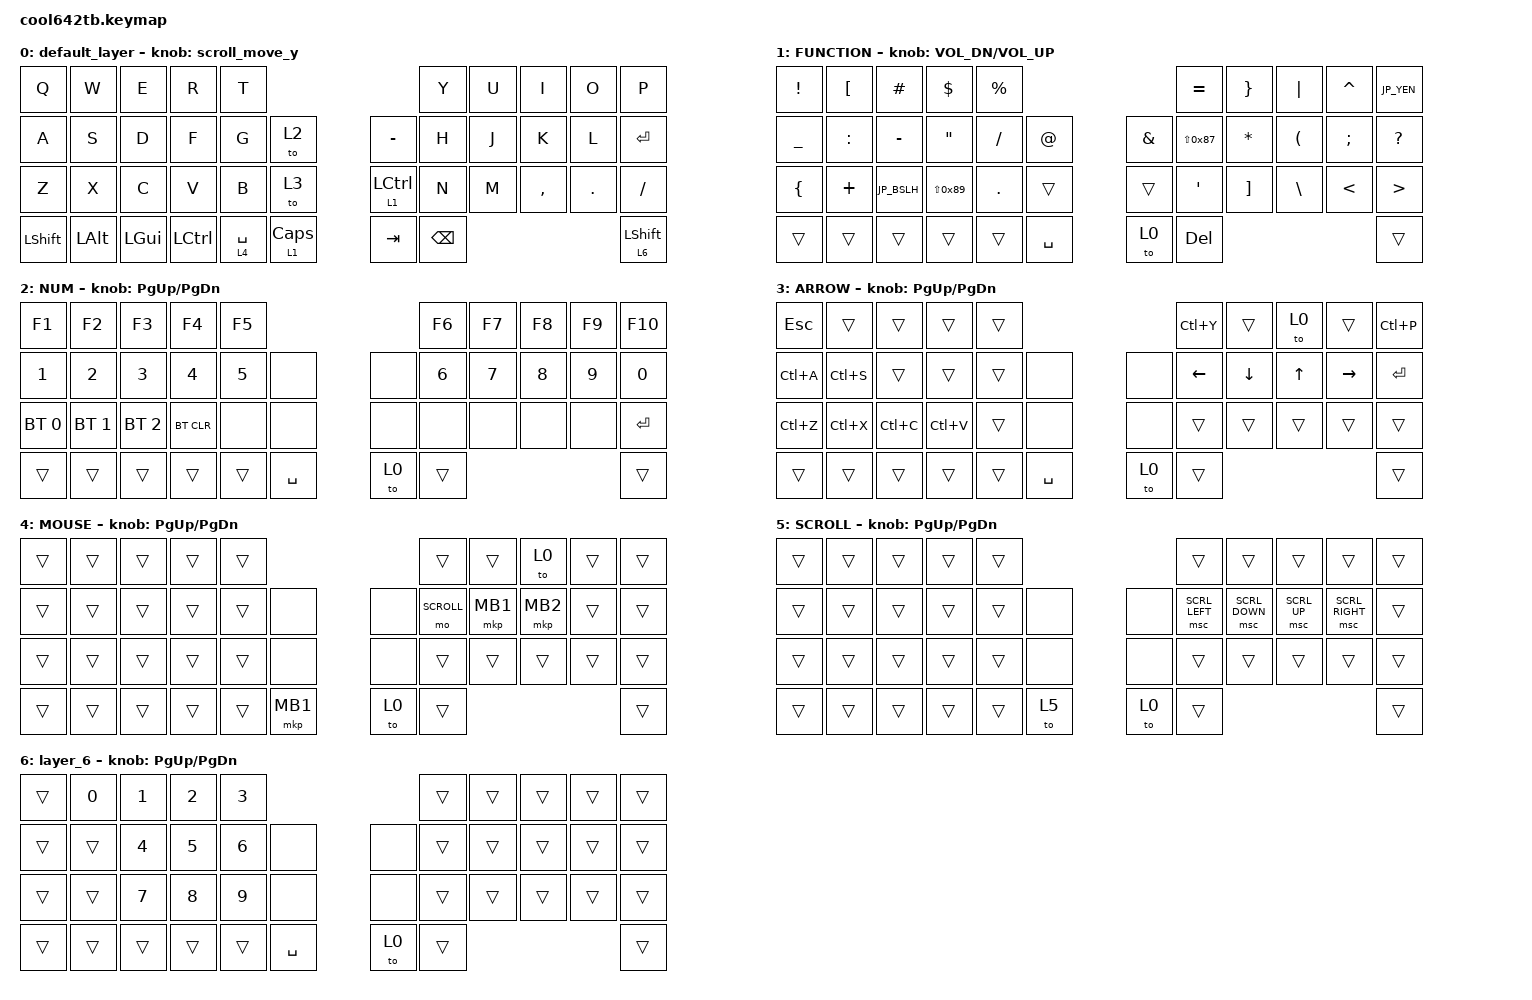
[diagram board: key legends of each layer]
#include <behaviors.dtsi>
#include <dt-bindings/zmk/bt.h>
#include <dt-bindings/zmk/keys.h>
#include <dt-bindings/zmk/pointing.h>

// -----------------------------------------------------
// OS設定を日本語キーボードのまま使用するための変換定義
// -----------------------------------------------------
#define JP_DQUOTE AT        // "
#define JP_AMPERSAND CARET  // &
#define JP_QUOTE AMPERSAND  // '
#define JP_EQUAL UNDER      // =
#define JP_CARET EQUAL      // ^
#define JP_YEN 0x89         // ¥
#define JP_PLUS COLON       // +
#define JP_TILDE PLUS       // ~
#define JP_PIPE LS(0x89)    // |
#define JP_AT LBKT          // @
#define JP_COLON SQT        // :
#define JP_ASTERISK DQT     // *
#define JP_BACKQUOTE LBRC   // `
#define JP_UNDERSCORE LS(0x87) // _
#define JP_LBRACKET RBKT    // [
#define JP_RBRACKET BSLH    // ]
#define JP_LPAREN ASTRK     // (
#define JP_RPAREN LPAR      // )
#define JP_LBRACE RBRC      // {
#define JP_RBRACE PIPE      // }
#define JP_BSLH 0x87       // \ (ろキー)

#define ZMK_MOUSE_DEFAULT_SCRL_VAL 100

// トラックボール（マウス）の感度を下げるための設定
#define ZMK_POINTING_DEFAULT_MOVE_VAL 600

#define MOUSE 4
#define SCROLL 5
#define NUM 6

&mt {
    flavor = "balanced";
    quick-tap-ms = <0>;
};

// -----------------------------------------------------
// オートマウスレイヤーの設定
// -----------------------------------------------------

/ {
    combos {
        compatible = "zmk,combos";

        comb1 {
            bindings = <&kp TAB>;
            key-positions = <11 10>;
            layers = <0>;
        };

        comb2 {
            bindings = <&kp LS(ESCAPE)>;
            key-positions = <0 1>;
            layers = <0>;
        };

        comb3 {
            bindings = <&kp CAPSLOCK>;
            key-positions = <22 23>;
            layers = <0>;
        };

        comb4 {
            bindings = <&kp BACKSPACE>;
            key-positions = <9 8>;
            layers = <0>;
        };

        comb5 {
            bindings = <&bt BT_CLR_ALL>;
            key-positions = <9 8>;
            timeout-ms = <0>;
            layers = <2>;
        };

        MS_BTN1_ {
            bindings = <&mkp MB1>;
            key-positions = <38 39>;
        };

        MS_BTN2_ {
            bindings = <&mkp MB2>;
            key-positions = <38 37>;
        };

        jk_scroll {
            bindings = <&mo SCROLL>;
            key-positions = <18 19>;
            layers = <MOUSE>;
        };
    };

    behaviors {
        scroll_up_down: behavior_sensor_rotate_mouse_wheel_up_down {
            compatible = "zmk,behavior-sensor-rotate";
            #sensor-binding-cells = <0>;
            bindings = <&msc SCRL_UP>, <&msc SCRL_DOWN>;
            tap-ms = <20>;
        };
    };

    rot_kp: sensor_rotate_kp {
        compatible = "zmk,behavior-sensor-rotate-var";
        #sensor-binding-cells = <2>;
        bindings = <&kp>, <&kp>;
    };

    rot_msc: sensor_rotate_msc {
        compatible = "zmk,behavior-sensor-rotate-var";
        #sensor-binding-cells = <2>;
        tap-ms = <20>;
        bindings = <&msc>, <&msc>;
    };

    scroll_move_y: sensor_rotate_msc_for_move_y {
        compatible = "zmk,behavior-sensor-rotate";
        #sensor-binding-cells = <0>;
        bindings = <&msc MOVE_Y(20)>, <&msc MOVE_Y(-20)>;
        tap-ms = <65>;
    };

    scroll_move_x: sensor_rotate_msc_for_move_x {
        compatible = "zmk,behavior-sensor-rotate";
        #sensor-binding-cells = <0>;
        bindings = <&msc MOVE_X(20)>, <&msc MOVE_X(-20)>;
        tap-ms = <65>;
    };

    keymap {
        compatible = "zmk,keymap";

        default_layer {
            bindings = <
&kp Q      &kp W         &kp E       &kp R      &kp T                                                      &kp Y      &kp U    &kp I      &kp O      &kp P
&kp A      &kp S         &kp D       &kp F      &kp G               &to 2                &kp MINUS         &kp H      &kp J    &kp K      &kp L      &kp ENTER
&kp Z      &kp X         &kp C       &kp V      &kp B               &to 3                &lt 1 LCTRL             &kp N      &kp M    &kp COMMA  &kp PERIOD &kp SLASH
&kp LSHIFT &kp LEFT_ALT  &kp LGUI    &kp LCTRL  &lt 4 SPACE         &lt 1 CAPSLOCK       &kp TAB           &kp BSPC                                  &lt 6 LSHIFT
            >;
            sensor-bindings = <&scroll_move_y>;
        };

        FUNCTION {
            bindings = <
&kp EXCL         &kp JP_AT     &kp HASH    &kp DLLR        &kp PRCNT                                                                  &kp JP_CARET      &kp JP_LBRACE   &kp JP_RBRACE   &kp JP_AMPERSAND &kp JP_YEN
&kp JP_EQUAL     &kp JP_PLUS   &kp MINUS   &kp JP_ASTERISK &kp SLASH         &kp JP_DQUOTE     &kp JP_QUOTE     &kp JP_UNDERSCORE &kp JP_LPAREN     &kp JP_RPAREN   &kp SEMI        &kp QMARK
&kp JP_BACKQUOTE &kp JP_TILDE  &kp JP_BSLH &kp JP_PIPE   &kp PERIOD        &trans            &trans           &kp JP_COLON      &kp JP_LBRACKET   &kp JP_RBRACKET &kp LT          &kp GT
&trans           &trans        &trans      &trans          &trans            &kp SPACE         &to 0            &kp DEL           &trans
            >;
            sensor-bindings = <&inc_dec_kp C_VOL_DN C_VOL_UP>;
        };

        NUM {
            bindings = <
&kp F1       &kp F2       &kp F3       &kp F4       &kp F5                                     &kp F6     &kp F7     &kp F8     &kp F9     &kp F10
&kp N1       &kp N2       &kp N3       &kp N4       &kp N5            &none     &none   &kp N6     &kp N7     &kp N8     &kp N9     &kp N0
&bt BT_SEL 0 &bt BT_SEL 1 &bt BT_SEL 2 &bt BT_CLR   &none             &none     &none   &none      &none      &none      &none      &kp ENTER
&trans       &trans       &trans       &trans       &trans            &kp SPACE         &to 0      &trans     &trans
            >;
            sensor-bindings = <&inc_dec_kp PG_UP PAGE_DOWN>;
        };

        ARROW {
            bindings = <
&kp ESCAPE    &trans    &trans    &trans    &trans                                      &kp LC(Y) &trans    &to 0     &trans    &kp LC(P)
&kp LC(A) &kp LC(S) &trans    &trans    &trans        &none     &none     &kp LEFT  &kp DOWN  &kp UP    &kp RIGHT &kp ENTER
&kp LC(Z) &kp LC(X) &kp LC(C) &kp LC(V) &trans        &none     &none     &trans    &trans    &trans    &trans    &trans
&trans    &trans    &trans    &trans    &trans        &kp SPACE           &to 0     &trans    &trans
            >;
            sensor-bindings = <&inc_dec_kp PG_UP PAGE_DOWN>;
        };

        MOUSE {
            bindings = <
&trans &trans &trans &trans &trans                          &trans         &trans     &to 0      &trans     &trans
&trans &trans &trans &trans &trans        &none     &none   &mo SCROLL     &mkp MB1   &mkp MB2   &trans     &trans
&trans &trans &trans &trans &trans        &none     &none   &trans         &trans     &trans     &trans     &trans
&trans &trans &trans &trans &trans        &mkp MB1          &to 0          &trans     &trans
            >;
            sensor-bindings = <&inc_dec_kp PG_UP PAGE_DOWN>;
        };

        SCROLL {
            bindings = <
&trans &trans &trans &trans &trans                                       &trans          &trans          &trans        &trans           &trans
&trans &trans &trans &trans &trans        &none          &none       &msc SCRL_LEFT  &msc SCRL_DOWN  &msc SCRL_UP  &msc SCRL_RIGHT  &trans
&trans &trans &trans &trans &trans        &none          &none       &trans          &trans          &trans        &trans           &trans
&trans &trans &trans &trans &trans        &to 5                      &to 0           &trans          &trans
            >;
            sensor-bindings = <&inc_dec_kp PG_UP PAGE_DOWN>;
        };

        layer_6 {
            bindings = <
&trans &kp N0 &kp N1 &kp N2 &kp N3                                  &trans     &trans     &trans     &trans     &trans
&trans &trans &kp N4 &kp N5 &kp N6        &none             &none   &trans     &trans     &trans     &trans     &trans
&trans &trans &kp N7 &kp N8 &kp N9        &none             &none   &trans     &trans     &trans     &trans     &trans
&trans &trans &trans &trans &trans        &kp SPACE         &to 0      &trans     &trans
            >;
            sensor-bindings = <&inc_dec_kp PG_UP PAGE_DOWN>;
        };
    };
};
